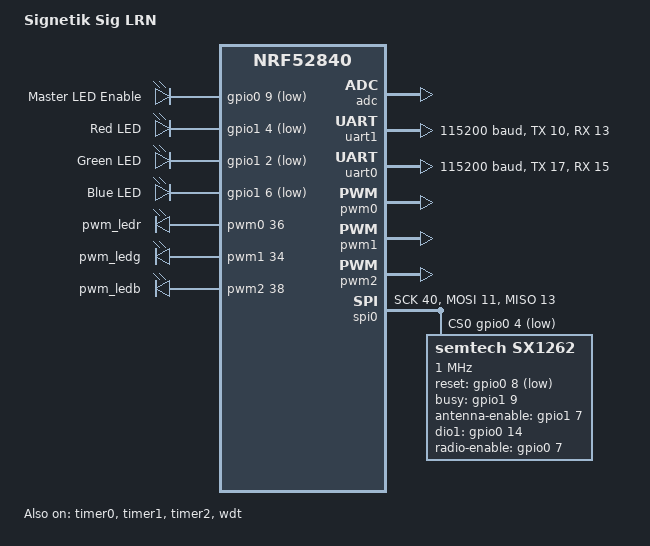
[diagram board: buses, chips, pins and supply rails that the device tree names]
/*
 * Copyright (c) 2018-2020 Nordic Semiconductor ASA
 * Copyright (c) 2017 Linaro Limited
 *
 * SPDX-License-Identifier: Apache-2.0
 */


/ {
	model = "Signetik Sig LRN";
	compatible = "nordic,nrf52840-qiaa", "nordic,nrf52840";

	chosen {
		zephyr,console = &uart0;
		zephyr,shell-uart = &uart0;
		zephyr,uart-mcumgr = &uart0;
		zephyr,bt-mon-uart = &uart0;
	};

	leds {
		compatible = "gpio-leds";
		leden: led_en {
			gpios = <&gpio0 9 (GPIO_ACTIVE_LOW | GPIO_OPEN_DRAIN)>;
			label = "Master LED Enable";
		};
		ledr: led_r {
			gpios = <&gpio1 4 (GPIO_ACTIVE_LOW | GPIO_OPEN_DRAIN)>;
			label = "Red LED";
		};
		ledg: led_g {
			gpios = <&gpio1 2 (GPIO_ACTIVE_LOW | GPIO_OPEN_DRAIN)>;
			label = "Green LED";
		};
		ledb: led_b {
			gpios = <&gpio1 6 (GPIO_ACTIVE_LOW | GPIO_OPEN_DRAIN)>;
			label = "Blue LED";
		};
	};

	pwmleds {
		compatible = "pwm-leds";
		pwm_ledr: pwm_led_r {
			pwms = <&pwm0 36>;
		};
		pwm_ledg: pwm_led_g {
			pwms = <&pwm1 34>;
		};
		pwm_ledb: pwm_led_b {
			pwms = <&pwm2 38>;
		};
	};


	/* These aliases are provided for compatibility with samples */
	aliases {
		leden = &leden;
		ledr = &ledr;
		ledg = &ledg;
		ledb = &ledb;
		pwm-ledr = &pwm_ledr;
		pwm-ledg = &pwm_ledg;
		pwm-ledb = &pwm_ledb;
		led0 = &ledr;
		led1 = &ledg;
		led2 = &ledb;
		pwm-led0 = &pwm_ledr;
		pwm-led1 = &pwm_ledg;
		pwm-led2 = &pwm_ledb;
		lora0 = &lora;
		uart0 = &uart0;
		uart1 = &uart1;
		wdt = &wdt;
	};

};

&adc {
	status = "okay";
};

&gpiote {
	status = "okay";
};

&gpio0 {
	status = "okay";
};

&gpio1 {
	status = "okay";
};

/* API Commands */
&uart1 {
	current-speed = <115200>;
	status = "okay";
	tx-pin = <10>;
	rx-pin = <13>;
	rts-pin = <20>;
	cts-pin = <32>;
};

/* Debug/Logging Console */
&uart0 {
	compatible = "nordic,nrf-uart"; 
	status = "okay";
	current-speed = <115200>;
	tx-pin = <17>;
	rx-pin = <15>;
};

&pwm0 {
	status = "okay";
	ch0-pin = <36>;
};

&pwm1 {
	status = "okay";
	ch0-pin = <34>;
};

&pwm2 {
	status = "okay";
	ch0-pin = <38>;
};

&spi0 {
	compatible = "nordic,nrf-spi";
	status = "okay";
	sck-pin = <40>;
	mosi-pin = <11>;
	miso-pin = <13>;
	cs-gpios = <&gpio0 4 (GPIO_ACTIVE_LOW | GPIO_OPEN_DRAIN)>;
	lora: sx1262@0 {
		compatible = "semtech,sx1262";
		reg = <0>;
		label = "sx1262";
		reset-gpios = <&gpio0 8 GPIO_ACTIVE_LOW>;
		busy-gpios = <&gpio1 9 0>;
		antenna-enable-gpios = <&gpio1 7 0>;
		dio1-gpios = <&gpio0 14 0>;
		radio-enable-gpios = <&gpio0 7 0>;
		spi-max-frequency = <1000000>;
		dio2-tx-enable;
	};
};

&timer0 {
	status = "okay";
};

&timer1 {
	status = "okay";
};

&timer2 {
	status = "okay";
};

&wdt {
	status = "okay";
};

&flash0 {
	/*
	 * For more information, see:
	 * https://docs.zephyrproject.org/latest/guides/dts/legacy-macros.html#legacy-flash-partitions
	 */
	partitions {
		compatible = "fixed-partitions";
		#address-cells = <1>;
		#size-cells = <1>;

		boot_partition: partition@0 {
			label = "mcuboot";
			reg = <0x000000000 0x0000C000>;
		};
		slot0_partition: partition@c000 {
			label = "image-0";
			reg = <0x0000C000 0x00067000>;
		};
		slot1_partition: partition@73000 {
			label = "image-1";
			reg = <0x00073000 0x00067000>;
		};
		scratch_partition: partition@da000 {
			label = "image-scratch";
			reg = <0x000da000 0x0001e000>;
		};

		/*
		 * The flash starting at 0x000f8000 and ending at
		 * 0x000fffff is reserved for use by the application.
		 */

		/*
		 * Storage partition will be used by FCB/LittleFS/NVS
		 * if enabled.
		 */
		storage_partition: partition@f8000 {
			label = "storage";
			reg = <0x000f8000 0x00008000>;
		};
	};
};
